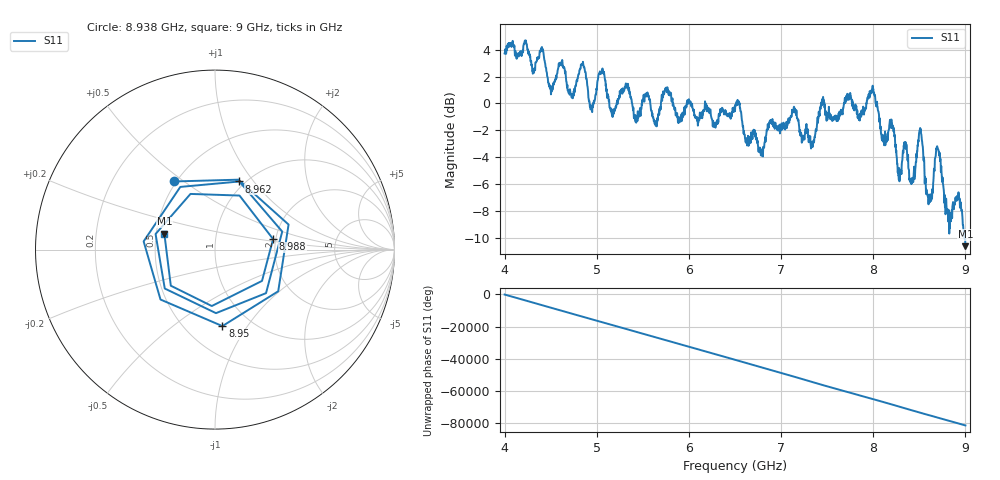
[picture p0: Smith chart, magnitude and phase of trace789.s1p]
! Created with skrf 1.8.0 (http://scikit-rf.org).
# Hz S RI R 50.0
!freq ReS11 ImS11
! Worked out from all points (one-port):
!   1601 points, 4 GHz to 9 GHz, reference 50 ohm
!   lowest |S11| = -10.6 dB at 9 GHz (marker M1), VSWR 1.84, Z = 27.6 + j5.36 ohm
!   |S11| at or under -10 dB: 8.990674 GHz to 8.995353 GHz (4.679 MHz wide, 0.052 % of centre); 8.997226 GHz to end of sweep
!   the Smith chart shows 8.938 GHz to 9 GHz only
!   S11 on the Smith chart (normalised r, x): 8.938 GHz: 0.48, +0.46; 8.95 GHz: 0.74, -0.77; 8.962 GHz: 0.94, +0.85; 8.988 GHz: 1.94, +0.25; 9 GHz: 0.55, +0.11
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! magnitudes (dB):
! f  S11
! 4 GHz  3.7
! 4.625 GHz  3.2
! 4.728 GHz  0.4
! 4.853 GHz  2.9
! 4.941 GHz  -0.2
! 5.047 GHz  2.2
! 5.162 GHz  -0.7
! 5.25 GHz  0.9
! 5.875 GHz  -1.0
! 6.5 GHz  -0.6
! 6.778 GHz  -3.5
! 7.125 GHz  -0.5
! 7.334 GHz  -2.8
! 7.447 GHz  0.3
! 7.75 GHz  0.8
! 7.994 GHz  1.3
! 8.281 GHz  -4.8
! 8.375 GHz  -4.1
! 8.428 GHz  -5.5
! 8.512 GHz  -2.0
! 8.597 GHz  -6.9
! 8.697 GHz  -3.3
! 8.806 GHz  -8.1
! 8.938 GHz  -7.1
! 8.95 GHz  -7.4
! 8.962 GHz  -7.9
! 8.988 GHz  -9.7
! 9 GHz  -10.6
